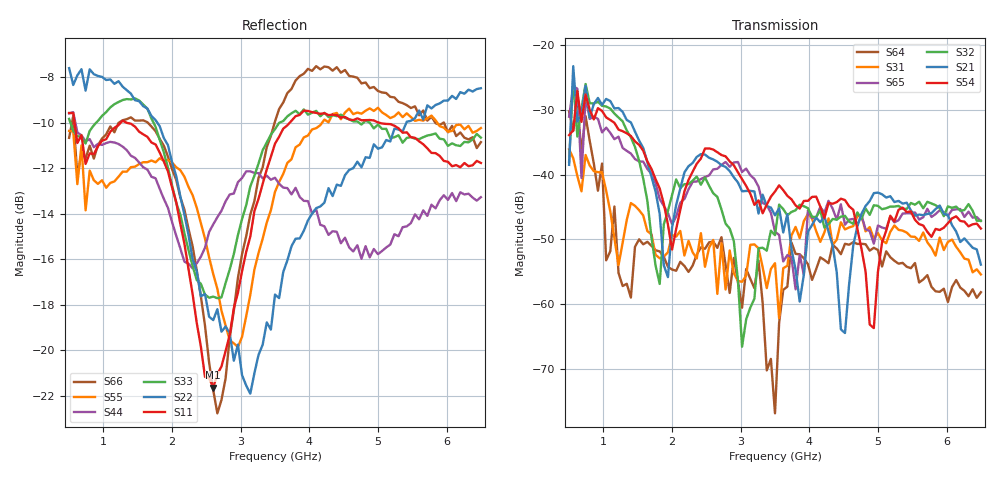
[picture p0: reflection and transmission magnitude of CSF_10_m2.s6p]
!Keysight Technologies,M9804A,MY58100912,A.14.10.03
!Date: Thursday, April 27, 2023 10:28:33
!Correction: S11(C  6-Port  )
!S12(C  6-Port  )
!S13(C  6-Port  )
!S14(C  6-Port  )
!S15(C  6-Port  )
!S16(C  6-Port  )
!S21(C  6-Port  )
!S22(C  6-Port  )
!S23(C  6-Port  )
!S24(C  6-Port  )
!S25(C  6-Port  )
!S26(C  6-Port  )
!S31(C  6-Port  )
!S32(C  6-Port  )
!S33(C  6-Port  )
!S34(C  6-Port  )
!S35(C  6-Port  )
!S36(C  6-Port  )
!S41(C  6-Port  )
!S42(C  6-Port  )
!S43(C  6-Port  )
!S44(C  6-Port  )
!S45(C  6-Port  )
!S46(C  6-Port  )
!S51(C  6-Port  )
!S52(C  6-Port  )
!S53(C  6-Port  )
!S54(C  6-Port  )
!S55(C  6-Port  )
!S56(C  6-Port  )
!S61(C  6-Port  )
!S62(C  6-Port  )
!S63(C  6-Port  )
!S64(C  6-Port  )
!S65(C  6-Port  )
!S66(C  6-Port  )
!S6P File: Measurement: :
# Hz S  RI  R 50
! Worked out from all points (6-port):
!   101 points, 500 MHz to 6.5 GHz, reference 50 ohm
!   strongest paths, dB at 500 MHz, 2 GHz, 3.5 GHz, 5 GHz, 6.5 GHz:
!     S54: -33.9, -51.6, -42.6, -55.0, -48.3
!     S21: -38.5, -48.2, -46.3, -42.8, -53.9
!     S32: -38.0, -43.2, -49.4, -44.8, -47.1
!     S65: -31.1, -47.7, -48.8, -47.9, -47.2
!     S31: -36.1, -49.3, -53.7, -49.1, -55.4
!     S64: -30.2, -54.7, -76.9, -51.7, -58.2
!   lowest |S11| = -21.7 dB at 2.6 GHz (marker M1), VSWR 1.18, Z = 42.6 + j2.05 ohm
!   |S11| at or under -10 dB: 579 MHz to 1.253 GHz (674.5 MHz wide, 73.6 % of centre); 1.332 GHz to 3.716 GHz (2.384 GHz wide, 94.4 % of centre); 5.009 GHz to end of sweep
